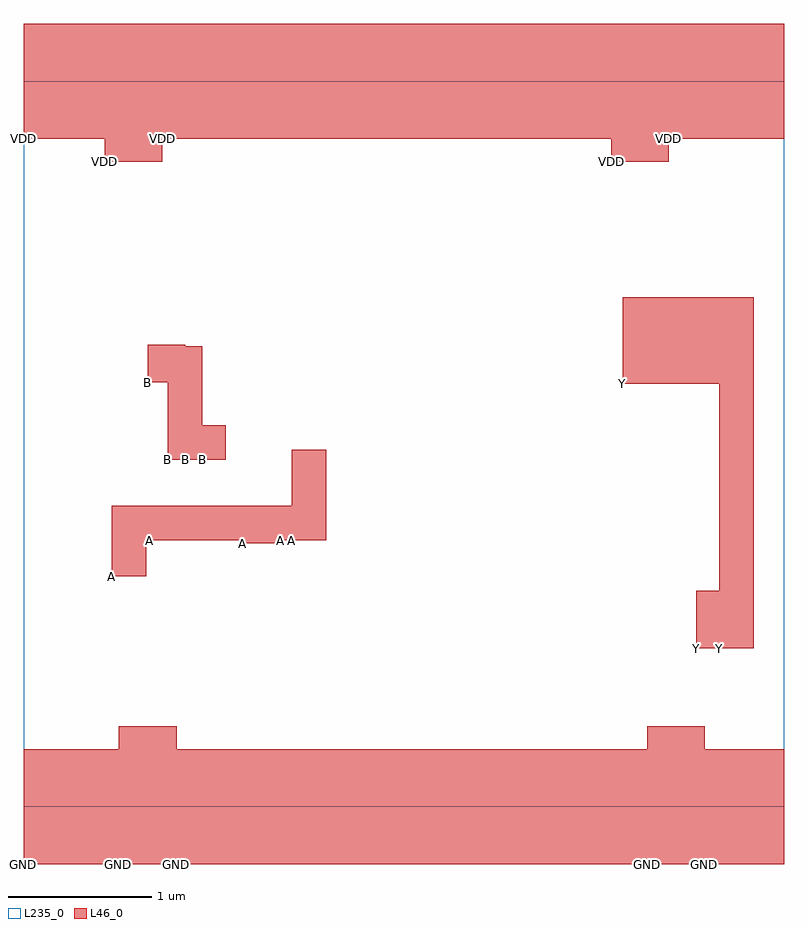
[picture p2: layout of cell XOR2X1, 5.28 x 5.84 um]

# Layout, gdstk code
import gdstk
lib = gdstk.Library(unit=1e-6, precision=1e-09)
def R(c, l, rs):  # rectangles x0, y0, x1, y1
    for r in rs: c.add(gdstk.rectangle(r[:2], r[2:], *l))
L46_0 = (46, 0)
L235_0 = (235, 0)

xor2x1 = lib.new_cell('XOR2X1')
R(xor2x1, L46_0, [(0,-0.4,0.66,0.4), (0.66,-0.4,1.06,0.56), (1.06,-0.4,4.33,0.4), (4.33,-0.4,4.73,0.56), (4.73,-0.4,5.28,0.4), (4.67,1.1,4.83,1.5), (4.83,1.1,5.07,3.54), (0.61,1.6,0.85,2.09), (1.52,1.83,1.78,2.09), (0.85,1.84,0.87,2.09), (0.87,1.85,1.52,2.09), (1.78,1.85,1.86,2.09), (1.86,1.85,2.1,2.48), (1,2.41,1.12,3.21), (1.12,2.41,1.24,3.2), (1.24,2.41,1.4,2.65), (4.16,2.94,4.83,3.54), (0.86,2.95,1,3.21), (0.56,4.48,0.96,5.44), (4.08,4.48,4.48,5.44), (0,4.64,0.56,5.44), (0.96,4.64,4.08,5.44), (4.48,4.64,5.28,5.44)])
R(xor2x1, L235_0, [(0,0,5.28,5.04)])
xor2x1.add(gdstk.Label('Y', (4.83,1.1), layer=101, texttype=0))
xor2x1.add(gdstk.Label('Y', (4.67,1.1), layer=101, texttype=0))
xor2x1.add(gdstk.Label('Y', (4.16,2.94), layer=101, texttype=0))
xor2x1.add(gdstk.Label('B', (1.24,2.41), layer=101, texttype=0))
xor2x1.add(gdstk.Label('B', (1.12,2.41), layer=101, texttype=0))
xor2x1.add(gdstk.Label('B', (1,2.41), layer=101, texttype=0))
xor2x1.add(gdstk.Label('B', (0.86,2.95), layer=101, texttype=0))
xor2x1.add(gdstk.Label('A', (1.86,1.85), layer=101, texttype=0))
xor2x1.add(gdstk.Label('A', (1.78,1.85), layer=101, texttype=0))
xor2x1.add(gdstk.Label('A', (1.52,1.83), layer=101, texttype=0))
xor2x1.add(gdstk.Label('A', (0.87,1.85), layer=101, texttype=0))
xor2x1.add(gdstk.Label('A', (0.85,1.84), layer=101, texttype=0))
xor2x1.add(gdstk.Label('A', (0.61,1.6), layer=101, texttype=0))
xor2x1.add(gdstk.Label('VDD', (4.48,4.64), layer=101, texttype=0))
xor2x1.add(gdstk.Label('VDD', (4.08,4.48), layer=101, texttype=0))
xor2x1.add(gdstk.Label('VDD', (0.96,4.64), layer=101, texttype=0))
xor2x1.add(gdstk.Label('VDD', (0.56,4.48), layer=101, texttype=0))
xor2x1.add(gdstk.Label('VDD', (0,4.64), layer=101, texttype=0))
xor2x1.add(gdstk.Label('GND', (4.73,-0.4), layer=101, texttype=0))
xor2x1.add(gdstk.Label('GND', (4.33,-0.4), layer=101, texttype=0))
xor2x1.add(gdstk.Label('GND', (1.06,-0.4), layer=101, texttype=0))
xor2x1.add(gdstk.Label('GND', (0.66,-0.4), layer=101, texttype=0))
xor2x1.add(gdstk.Label('GND', (0,-0.4), layer=101, texttype=0))

lib.write_gds('XOR2X1.gds')
